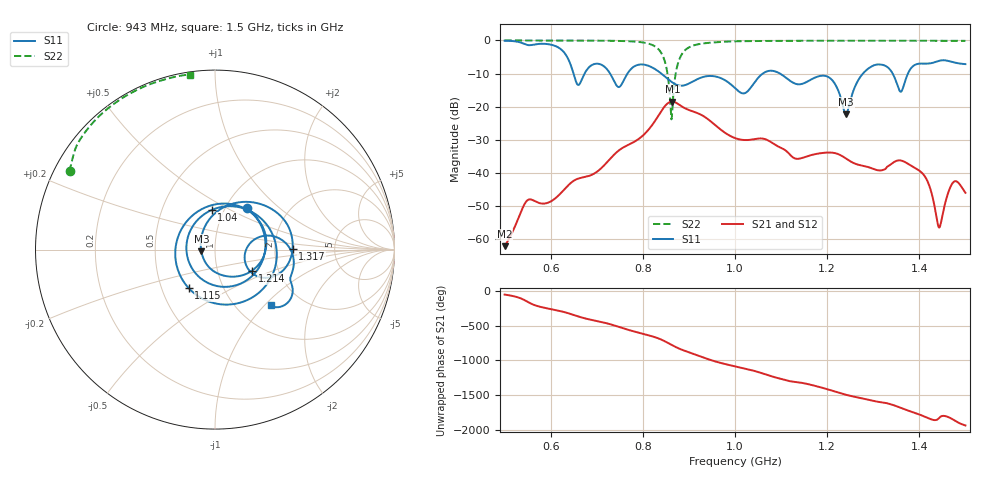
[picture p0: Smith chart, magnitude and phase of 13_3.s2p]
! TOUCHSTONE file generated by CST MICROWAVE STUDIO
! Date and time: Fri Dec 11 13:55:16 2020
! Project name: Scenario_1_Planar_Body_Tissue_Out_of_Line_v2.cst
! Parameters = {dy1=-138.4; L_HA=400; Ltissue=700; MT=2.54; Rad_Dielectric=30; Rad_Lower=7.3; Rad_Upper=30; Wtissue=700; a_HA=580; a_WG=246; b_HA=500; b_WG=121; c_HA=0; c_WG=187; d_feed=85; dx1=520; h_feed=15; h_lower=18; h_upper=40; hfat=3; hgap=25; hmuscle=50; hskin=1.5}
! Header version: 2018
! Port assignment regex: !\s*Touchstone port\s*([0-9]+)\s*=\s*(CST MWS port|CST DS port)\s*([0-9]+|Zmin|Zmax)\s*\(\"(.*)\"\)(\s*mode\s*([0-9]+))?.*
! Touchstone port assignment:
! Touchstone port 1 = CST MWS port 1 ("")
! Touchstone port 2 = CST MWS port 2 ("")
# GHz S DB R 50
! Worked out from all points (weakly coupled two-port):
!   1003 points, 500 MHz to 1.5 GHz, reference 50 ohm
!   highest |S21| = -18.45 dB at 864 MHz (marker M1); lowest = -62.0 dB at 500 MHz (marker M2)
!   lowest |S11| = -22.3 dB at 1.241 GHz (marker M3), VSWR 1.17, Z = 42.9 - j0.897 ohm
!   |S11| at or under -10 dB: 728.9 MHz to 766.6 MHz (37.7 MHz wide, 5.04 % of centre); 840.1 MHz to 1.06 GHz (220 MHz wide, 23.2 % of centre); 1.098 GHz to 1.278 GHz (180 MHz wide, 15.2 % of centre) (the widest 3 of 5)
!   |S22| runs from -23.8 to 0.0 dB; largest |S21 - S12| = 1.9e-05
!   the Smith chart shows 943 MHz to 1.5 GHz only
!   S11 on the Smith chart (normalised r, x): 943 MHz: 1.25, +0.63; 1.04 GHz: 0.87, +0.41; 1.115 GHz: 0.69, -0.31; 1.214 GHz: 1.46, -0.37; 1.317 GHz: 2.52, +0.04; 1.5 GHz: 1.42, -1.09
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0.5  -0.08 -121.9  -62.05 -53.2  -62.05 -53.2  -0.01 151.2
0.63  -3.77 148.0  -44.88 53.9  -44.88 53.9  -0.03 141.8
0.667  -11.97 174.2  -41.40 -22.4  -41.40 -22.4  -0.04 138.5
0.742  -13.38 9.6  -33.86 -145.4  -33.86 -145.4  -0.13 129.2
0.787  -7.46 165.5  -30.08 125.6  -30.08 125.6  -0.40 118.9
0.834  -9.35 47.3  -22.66 35.8  -22.66 35.8  -2.66 89.0
0.864  -12.66 -38.2  -18.45 -62.4  -18.45 -62.4  -20.78 -96.3
0.885  -13.65 -110.7  -19.95 -127.0  -19.95 -127.0  -4.08 -172.6
0.943  -10.73 52.7  -23.93 94.9  -23.93 94.9  -0.73 151.7
1  -14.36 -100.1  -29.45 -4.9  -29.45 -4.9  -0.26 140.9
1.04  -13.11 95.0  -29.82 -67.1  -29.82 -67.1  -0.19 135.9
1.073  -9.20 -8.0  -30.24 -136.4  -30.24 -136.4  -0.15 132.5
1.115  -11.71 -124.4  -33.82 147.6  -33.82 147.6  -0.12 128.7
1.167  -11.66 79.4  -34.52 85.8  -34.52 85.8  -0.10 124.5
1.214  -12.50 -29.8  -33.90 -1.1  -33.90 -1.1  -0.09 120.8
1.241  -22.30 -172.2  -35.63 -54.2  -35.63 -54.2  -0.09 118.8
1.317  -7.28 0.8  -39.19 -161.5  -39.19 -161.5  -0.08 113.0
1.334  -8.43 -21.1  -37.79 176.7  -37.79 176.7  -0.08 111.7
1.408  -6.97 -16.0  -40.28 2.4  -40.28 2.4  -0.10 106.0
1.443  -6.14 -28.6  -56.43 -27.2  -56.43 -27.2  -0.10 103.2
1.473  -6.54 -43.0  -42.87 -48.4  -42.87 -48.4  -0.11 100.6
1.5  -7.14 -44.7  -45.94 -134.7  -45.94 -134.7  -0.13 98.2
